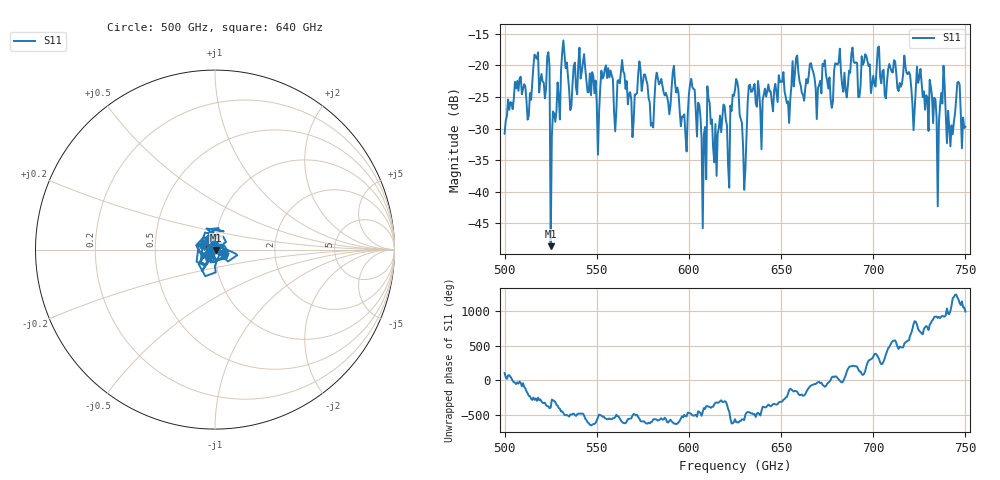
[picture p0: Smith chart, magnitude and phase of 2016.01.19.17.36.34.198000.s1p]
!Created with skrf (http://scikit-rf.org).
# GHz S RI R 50.0
!freq ReS11 ImS11
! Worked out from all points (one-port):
!   401 points, 500 GHz to 750 GHz, reference 50 ohm
!   lowest |S11| = -48.6 dB at 525 GHz (marker M1), VSWR 1.01, Z = 50.3 - j0.196 ohm
!   |S11| at or under -10 dB: start of sweep to end of sweep
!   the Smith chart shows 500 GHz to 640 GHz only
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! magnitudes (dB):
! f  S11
! 500 GHz  -30.8
! 506.9 GHz  -22.5
! 513.1 GHz  -27.9
! 516.9 GHz  -18.7
! 523.1 GHz  -18.5
! 525 GHz  -48.6
! 526.2 GHz  -27.3
! 531.2 GHz  -17.9
! 550 GHz  -26.1
! 562.5 GHz  -22.8
! 580 GHz  -29.1
! 583.1 GHz  -22.0
! 593.8 GHz  -23.5
! 597.5 GHz  -27.7
! 601.9 GHz  -23.4
! 608.1 GHz  -30.9
! 611.2 GHz  -26.0
! 614.4 GHz  -29.3
! 621.2 GHz  -35.8
! 625 GHz  -23.9
! 630 GHz  -39.7
! 633.8 GHz  -24.2
! 656.2 GHz  -19.3
! 687.5 GHz  -21.2
! 718.8 GHz  -21.4
! 733.8 GHz  -25.4
! 737.5 GHz  -26.0
! 750 GHz  -29.7
